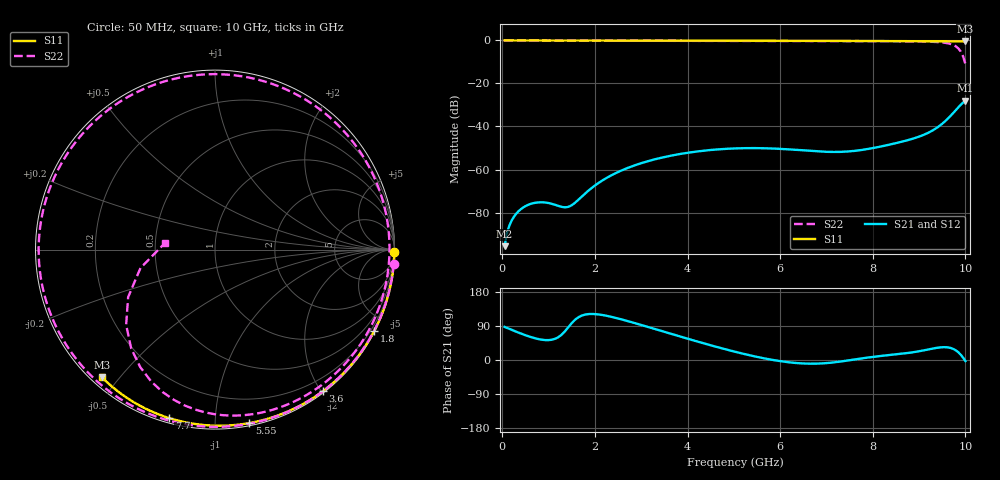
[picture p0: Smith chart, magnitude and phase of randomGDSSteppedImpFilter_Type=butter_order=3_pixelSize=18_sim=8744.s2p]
! freq	dB(S11)	phase(S11)	dB(S12)	phase(S12)
!  dB(S21)	phase(S21)	dB(S22)	phase(S22)
!S-par simulation data
#  GHz  S  DB  R 50
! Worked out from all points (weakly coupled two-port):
!   200 points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, 50 MHz to 10 GHz, reference 50 ohm
!   highest |S21| = -28.05 dB at 10 GHz (marker M1); lowest = -95.6 dB at 50 MHz (marker M2)
!   lowest |S11| = -0.4 dB at 10 GHz (marker M3), VSWR 39.66, Z = 1.52 - j22.5 ohm
!   |S11| at or under -10 dB: nowhere
!   |S22| runs from -11.0 to 0.0 dB; largest |S21 - S12| = 0
!   S11 on the Smith chart (normalised r, x): 50 MHz: open; 1.8 GHz: 0.04, -4.17; 3.6 GHz: 0.02, -2.02; 5.55 GHz: 0.02, -1.22; 7.7 GHz: 0.02, -0.76; 10 GHz: 0.03, -0.45
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0.05  -0.00 -0.8  -95.64 87.3  -95.64 87.3  -0.00 -4.6
0.3  -0.01 -4.6  -80.57 74.7  -80.57 74.7  -0.04 -27.1
0.5  -0.01 -7.6  -77.03 65.4  -77.03 65.4  -0.06 -44.5
0.85  -0.02 -12.8  -75.24 53.6  -75.24 53.6  -0.09 -73.2
1.4  -0.03 -21.1  -77.49 82.6  -77.49 82.6  -0.12 -113.0
1.75  -0.03 -26.2  -71.92 118.6  -71.92 118.6  -0.13 -134.9
1.8  -0.03 -27.0  -70.94 120.1  -70.94 120.1  -0.13 -137.9
2.55  -0.05 -37.9  -60.68 108.0  -60.68 108.0  -0.15 -178.2
3.4  -0.07 -50.0  -54.70 77.9  -54.70 77.9  -0.17 142.1
3.6  -0.07 -52.8  -53.75 70.7  -53.75 70.7  -0.17 133.3
4.3  -0.09 -62.3  -51.37 45.7  -51.37 45.7  -0.19 103.5
5.05  -0.11 -72.3  -50.18 21.0  -50.18 21.0  -0.21 72.9
5.55  -0.13 -78.8  -50.07 6.9  -50.07 6.9  -0.21 53.2
6.7  -0.18 -93.2  -51.42 -9.7  -51.42 -9.7  -0.24 10.1
7.7  -0.24 -105.2  -51.09 3.2  -51.09 3.2  -0.28 -24.7
8.35  -0.29 -112.8  -48.49 12.9  -48.49 12.9  -0.33 -46.7
9  -0.34 -120.3  -44.70 23.1  -44.70 23.1  -0.46 -70.6
9.5  -0.39 -126.0  -38.72 33.7  -38.72 33.7  -0.93 -97.1
9.7  -0.41 -128.2  -34.61 31.0  -34.61 31.0  -1.77 -115.9
9.85  -0.43 -129.9  -31.03 20.1  -31.03 20.1  -3.76 -139.7
9.95  -0.43 -131.0  -28.87 6.2  -28.87 6.2  -7.38 -166.1
10  -0.44 -131.6  -28.05 -2.7  -28.05 -2.7  -10.97 173.0
